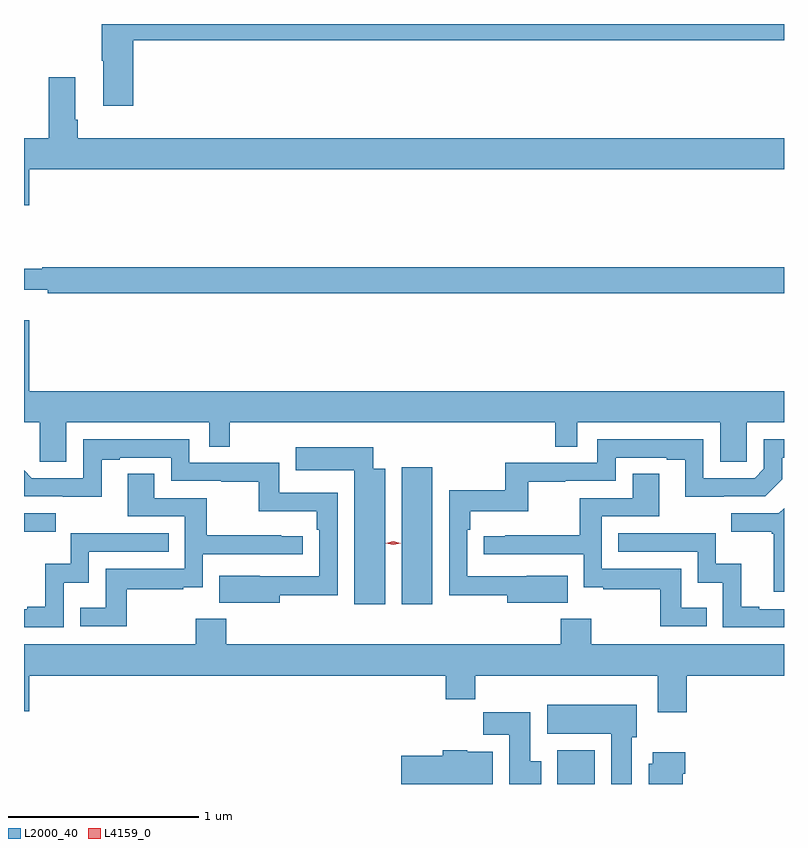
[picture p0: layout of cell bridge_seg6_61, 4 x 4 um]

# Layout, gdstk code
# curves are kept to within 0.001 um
import gdstk
lib = gdstk.Library(unit=1e-6, precision=1e-09)
def R(c, l, rs):  # rectangles x0, y0, x1, y1
    for r in rs: c.add(gdstk.rectangle(r[:2], r[2:], *l))
def P(c, l, *ps):  # polygons
    for p in ps: c.add(gdstk.Polygon(p, *l))
L2000_40 = (2000, 40)
L4159_0 = (4159, 0)

bridge_seg6_61 = lib.new_cell('bridge_seg6_61')
R(bridge_seg6_61, L2000_40, [(839.279,925.453,839.476,925.63), (838.46,926.4,838.621,927.121), (836.472,926.78,836.638,926.877)])
P(bridge_seg6_61, L2000_40, [(837.047,929.368),(840.472,929.368),(840.472,929.453),(836.881,929.453),(836.881,929.26),(836.888,929.26),(836.888,929.022),(837.047,929.022)],
  [(836.5,928.688),(840.472,928.688),(840.472,928.852),(836.756,928.852),(836.756,928.948),(836.743,928.948),(836.743,929.173),(836.603,929.173),(836.603,928.852),(836.472,928.852),(836.472,928.5),(836.5,928.5)],
  [(840.472,928.172),(836.567,928.172),(836.567,928.165),(836.472,928.165),(836.472,928.055),(836.596,928.055),(836.596,928.036),(840.472,928.036)],
  [(836.695,927.356),(837.447,927.356),(837.447,927.229),(837.556,927.229),(837.556,927.356),(839.269,927.356),(839.269,927.229),(839.385,927.229),(839.385,927.356),(840.137,927.356),(840.137,927.148),(840.276,927.148),(840.276,927.356),(840.472,927.356),(840.472,927.52),(836.5,927.52),(836.5,927.895),(836.472,927.895),(836.472,927.356),(836.556,927.356),(836.556,927.148),(836.695,927.148)],
  [(837.817,926.446),(838.122,926.446),(838.122,926.985),(837.816,926.985),(837.816,927.144),(837.342,927.144),(837.342,927.267),(836.784,927.267),(836.784,927.063),(836.514,927.063),(836.472,927.105),(836.472,926.967),(836.881,926.966),(836.881,927.159),(836.977,927.159),(836.977,927.171),(837.246,927.171),(837.246,927.048),(837.511,927.048),(837.511,927.043),(837.708,927.043),(837.708,926.888),(838.013,926.888),(838.013,926.792),(838.026,926.792),(838.026,926.547),(837.499,926.548),(837.499,926.408),(837.817,926.408)],
  [(839.333,926.548),(838.806,926.547),(838.806,926.792),(838.82,926.792),(838.82,926.888),(839.125,926.888),(839.125,927.043),(839.321,927.043),(839.321,927.048),(839.586,927.048),(839.586,927.171),(839.855,927.171),(839.855,927.159),(839.951,927.159),(839.951,926.966),(840.372,926.967),(840.462,927.057),(840.462,927.171),(840.472,927.171),(840.472,927.267),(840.366,927.267),(840.366,927.111),(840.318,927.063),(840.048,927.063),(840.048,927.267),(839.49,927.267),(839.49,927.144),(839.004,927.144),(839.004,926.998),(838.71,926.998),(838.71,926.446),(839.015,926.446),(839.015,926.408),(839.333,926.408)],
  [(838.372,927.112),(838.309,927.112),(838.309,927.226),(837.901,927.226),(837.901,927.104),(838.211,927.104),(838.211,926.4),(838.372,926.4)],
  [(837.013,926.478),(837.311,926.478),(837.311,926.489),(837.414,926.489),(837.414,926.661),(837.94,926.661),(837.94,926.757),(837.827,926.757),(837.827,926.762),(837.434,926.762),(837.434,926.958),(837.157,926.958),(837.157,927.086),(837.017,927.086),(837.017,926.862),(837.318,926.862),(837.318,926.586),(836.902,926.586),(836.902,926.38),(836.767,926.38),(836.767,926.283),(837.013,926.283)],
  [(840.065,926.38),(839.931,926.38),(839.931,926.586),(839.514,926.586),(839.514,926.862),(839.815,926.862),(839.815,927.086),(839.675,927.086),(839.675,926.958),(839.398,926.958),(839.398,926.762),(839.005,926.762),(839.005,926.757),(838.893,926.757),(838.893,926.661),(839.418,926.661),(839.418,926.489),(839.521,926.489),(839.521,926.478),(839.82,926.478),(839.82,926.283),(840.065,926.283)],
  [(840.472,926.905),(840.444,926.877),(840.195,926.877),(840.195,926.78),(840.408,926.78),(840.408,926.769),(840.419,926.769),(840.419,926.466),(840.472,926.466)],
  [(840.472,926.373),(840.343,926.373),(840.343,926.386),(840.247,926.386),(840.247,926.611),(840.114,926.611),(840.114,926.772),(839.599,926.772),(839.599,926.676),(840.018,926.676),(840.018,926.513),(840.15,926.513),(840.15,926.277),(840.472,926.277)],
  [(836.682,926.513),(836.814,926.513),(836.814,926.676),(837.233,926.676),(837.233,926.772),(836.718,926.772),(836.718,926.611),(836.585,926.611),(836.585,926.386),(836.489,926.386),(836.489,926.373),(836.472,926.373),(836.472,926.277),(836.682,926.277)],
  [(839.96,926.024),(840.472,926.024),(840.472,926.188),(839.457,926.188),(839.457,926.323),(839.297,926.323),(839.297,926.188),(837.536,926.188),(837.536,926.323),(837.376,926.323),(837.376,926.188),(836.472,926.188),(836.472,925.836),(836.5,925.836),(836.5,926.024),(838.691,926.024),(838.691,925.9),(838.847,925.9),(838.847,926.024),(839.807,926.024),(839.807,925.83),(839.96,925.83)],
  [(839.671,925.698),(839.698,925.698),(839.698,925.87),(839.225,925.87),(839.225,925.718),(839.564,925.718),(839.564,925.453),(839.671,925.453)],
  [(839.194,925.572),(839.137,925.572),(839.137,925.831),(838.888,925.831),(838.888,925.712),(839.027,925.712),(839.027,925.453),(839.194,925.453)],
  [(838.939,925.624),(838.806,925.624),(838.806,925.63),(838.676,925.63),(838.676,925.602),(838.458,925.602),(838.458,925.453),(838.939,925.453)],
  [(839.938,925.508),(839.951,925.508),(839.951,925.621),(839.78,925.621),(839.78,925.56),(839.759,925.56),(839.759,925.453),(839.938,925.453)])
P(bridge_seg6_61, L4159_0, [(838.416,926.711),(838.376,926.721),(838.376,926.721),(838.376,926.721),(838.416,926.731),(838.456,926.721),(838.456,926.721),(838.456,926.721)])

lib.write_gds('bridge_seg6_61.gds')
